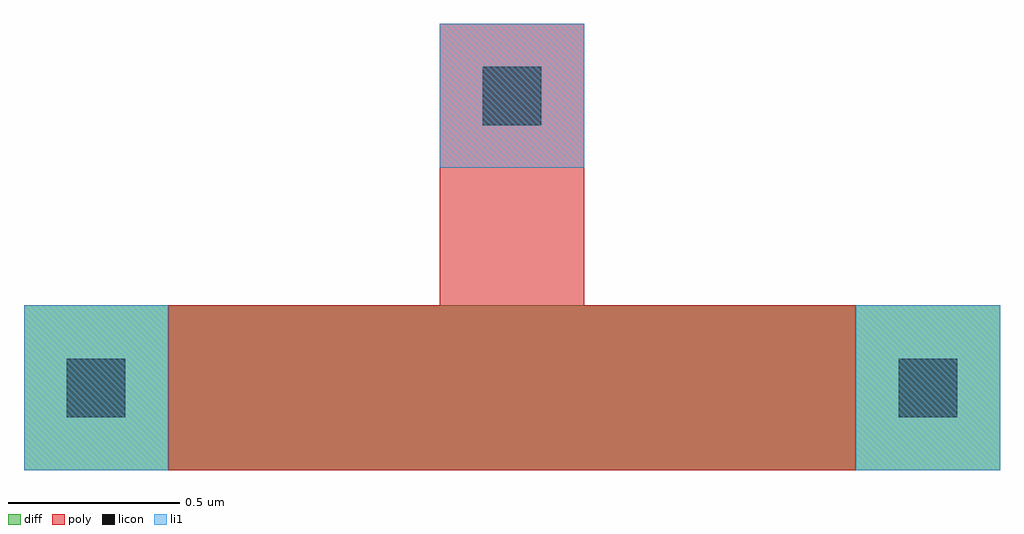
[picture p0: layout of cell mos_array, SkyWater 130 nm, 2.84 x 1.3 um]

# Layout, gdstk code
import gdstk
lib = gdstk.Library(unit=1e-6, precision=1e-09)
def R(c, l, rs):  # rectangles x0, y0, x1, y1
    for r in rs: c.add(gdstk.rectangle(r[:2], r[2:], *l))
diff = (65, 20)
poly = (66, 20)
licon = (66, 44)
li1 = (67, 20)

mos_array = lib.new_cell('mos_array')
R(mos_array, diff, [(0,0,2.84,0.48)])
R(mos_array, poly, [(0.42,0,2.42,0.48), (1.21,0.48,1.63,1.3)])
R(mos_array, licon, [(0.125,0.155,0.295,0.325), (2.545,0.155,2.715,0.325), (1.335,1.005,1.505,1.175)])
R(mos_array, li1, [(0,0,0.42,0.48), (2.42,0,2.84,0.48), (1.21,0.88,1.63,1.3)])

lib.write_gds('mos_array.gds')
